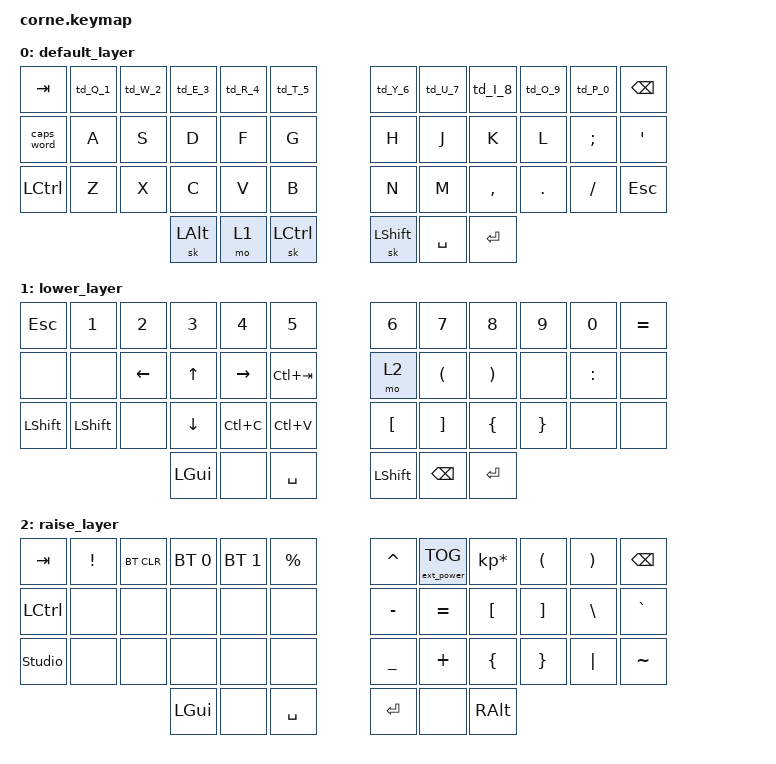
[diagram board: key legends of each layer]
#include <behaviors.dtsi>
#include <dt-bindings/zmk/keys.h>
#include <dt-bindings/zmk/bt.h>
#include <dt-bindings/zmk/ext_power.h>

/ {
            behaviors {
         td_Q_1: tap_dance_Q_1 {
            compatible = "zmk,behavior-tap-dance";
            #binding-cells = <0>;
            tapping-term-ms = <175>;
            bindings = <&kp Q>, <&kp N1>;
        };
        td_W_2: tap_dance_W_2 {
            compatible = "zmk,behavior-tap-dance";
            #binding-cells = <0>;
            tapping-term-ms = <175>;
            bindings = <&kp W>, <&kp N2>;
        };
        td_E_3: tap_dance_E_3 {
            compatible = "zmk,behavior-tap-dance";
            #binding-cells = <0>;
            tapping-term-ms = <175>;
            bindings = <&kp E>, <&kp N3>;
        };
        td_R_4: tap_dance_R_4 {
            compatible = "zmk,behavior-tap-dance";
            #binding-cells = <0>;
            tapping-term-ms = <175>;
            bindings = <&kp R>, <&kp N4>;
        };
        td_T_5: tap_dance_T_5 {
            compatible = "zmk,behavior-tap-dance";
            #binding-cells = <0>;
            tapping-term-ms = <175>;
            bindings = <&kp T>, <&kp N5>;
        };
        td_Y_6: tap_dance_Y_6 {
            compatible = "zmk,behavior-tap-dance";
            #binding-cells = <0>;
            tapping-term-ms = <175>;
            bindings = <&kp Y>, <&kp N6>;
        };
        td_U_7: tap_dance_U_7 {
            compatible = "zmk,behavior-tap-dance";
            #binding-cells = <0>;
            tapping-term-ms = <175>;
            bindings = <&kp U>, <&kp N7>;
        };
        td_I_8: tap_dance_I_8 {
            compatible = "zmk,behavior-tap-dance";
            #binding-cells = <0>;
            tapping-term-ms = <175>;
            bindings = <&kp I>, <&kp N8>;
        };
        td_O_9: tap_dance_O_9 {
            compatible = "zmk,behavior-tap-dance";
            #binding-cells = <0>;
            tapping-term-ms = <175>;
            bindings = <&kp O>, <&kp N9>;
        };
        td_P_0: tap_dance_P_0 {
            compatible = "zmk,behavior-tap-dance";
            #binding-cells = <0>;
            tapping-term-ms = <175>;
            bindings = <&kp P>, <&kp N0>;
        };
        td_V_CMD_C: tap_dance_V_CMD_C {
            compatible = "zmk,behavior-tap-dance";
            #binding-cells = <0>;
            tapping-term-ms = <175>;
            bindings = <&kp V>, <&kp LG(C)>;
        };
        td_B_CMD_V: tap_dance_B_CMD_V {
            compatible = "zmk,behavior-tap-dance";
            #binding-cells = <0>;
            tapping-term-ms = <175>;
            bindings = <&kp B>, <&kp LG(V)>;
        };
        td_G_CMD_S: tap_dance_G_CMD_S {
            compatible = "zmk,behavior-tap-dance";
            #binding-cells = <0>;
            tapping-term-ms = <175>;
            bindings = <&kp G>, <&kp LG(S)>;
        };
        td_S_LEFT: tap_dance_S_LEFT {
            compatible = "zmk,behavior-tap-dance";
            #binding-cells = <0>;
            tapping-term-ms = <175>;
            bindings = <&kp S>, <&kp LEFT>;
        };
        td_F_RIGHT: tap_dance_F_RIGHT {
            compatible = "zmk,behavior-tap-dance";
            #binding-cells = <0>;
            tapping-term-ms = <175>;
            bindings = <&kp F>, <&kp RIGHT>;
        };
        td_D_UP: tap_dance_D_UP {
            compatible = "zmk,behavior-tap-dance";
            #binding-cells = <0>;
            tapping-term-ms = <175>;
            bindings = <&kp D>, <&kp UP>;
        };
        td_C_DOWN: tap_dance_C_DOWN {
            compatible = "zmk,behavior-tap-dance";
            #binding-cells = <0>;
            tapping-term-ms = <175>;
            bindings = <&kp C>, <&kp DOWN>;
        };
        td_J_LPAR: tap_dance_J_LPAR {
            compatible = "zmk,behavior-tap-dance";
            #binding-cells = <0>;
            tapping-term-ms = <175>;
            bindings = <&kp J>, <&kp LPAR>;
        };
        td_K_RPAR: tap_dance_K_RPAR {
            compatible = "zmk,behavior-tap-dance";
            #binding-cells = <0>;
            tapping-term-ms = <175>;
            bindings = <&kp K>, <&kp RPAR>;
        };
        td_N_LBKT: tap_dance_N_LBKT {
            compatible = "zmk,behavior-tap-dance";
            #binding-cells = <0>;
            tapping-term-ms = <175>;
            bindings = <&kp N>, <&kp LBKT>;
        };
        td_M_RBKT: tap_dance_M_RBKT {
            compatible = "zmk,behavior-tap-dance";
            #binding-cells = <0>;
            tapping-term-ms = <175>;
            bindings = <&kp M>, <&kp RBKT>;
        };
        td_COMMA_LBRC: tap_dance_COMMA_LBRC {
            compatible = "zmk,behavior-tap-dance";
            #binding-cells = <0>;
            tapping-term-ms = <175>;
            bindings = <&kp COMMA>, <&kp LBRC>;
        };
        td_DOT_RBRC: tap_dance_DOT_RBRC {
            compatible = "zmk,behavior-tap-dance";
            #binding-cells = <0>;
            tapping-term-ms = <175>;
            bindings = <&kp DOT>, <&kp RBRC>;
        };
        td_H_MINUS: tap_dance_H_MINUS {
            compatible = "zmk,behavior-tap-dance";
            #binding-cells = <0>;
            tapping-term-ms = <175>;
            bindings = <&kp H>, <&kp MINUS>;
        };
        td_L_PLUS: tap_dance_L_PLUS {
            compatible = "zmk,behavior-tap-dance";
            #binding-cells = <0>;
            tapping-term-ms = <175>;
            bindings = <&kp L>, <&kp PLUS>;
        };
        td_V_CTRL_C: tap_dance_V_CTRL_C {
            compatible = "zmk,behavior-tap-dance";
            #binding-cells = <0>;
            tapping-term-ms = <175>;
            bindings = <&kp V>, <&kp LC(C)>;
        };
        td_B_CTRL_V: tap_dance_B_CTRL_V {
            compatible = "zmk,behavior-tap-dance";
            #binding-cells = <0>;
            tapping-term-ms = <175>;
            bindings = <&kp B>, <&kp LC(V)>;
        };
    };
        keymap {
                compatible = "zmk,keymap";

                default_layer {

                        bindings = <
   &kp TAB   &td_Q_1 &td_W_2 &td_E_3 &td_R_4 &td_T_5   &td_Y_6 &td_U_7  &td_I_8     &td_O_9   &td_P_0    &kp BSPC
   &caps_word &kp A &kp S &kp D &kp F &kp G   &kp H &kp J  &kp K     &kp L   &kp SEMI &kp SQT
   &kp LCTRL &kp Z &kp X &kp C &kp V &kp B   &kp N &kp M  &kp COMMA &kp DOT &kp FSLH &kp ESC
                  &sk LALT &mo 1 &sk LCTRL  &sk LSHFT &kp SPACE &kp RET
                        >;
                };
                lower_layer {
                        bindings = <
   &kp ESC  &kp N1  &kp N2  &kp N3  &kp N4  &kp N5         &kp N6   &kp N7   &kp N8 &kp N9    &kp N0 &kp EQUAL
   &none &none &kp LEFT &kp UP &kp RIGHT &kp LC(TAB)            &mo 2 &kp LPAR &kp RPAR &none &kp COLON &none
   &kp LSHFT  &kp LSHFT  &none  &kp DOWN  &kp LC(C)  &kp LC(V)   &kp LBKT  &kp RBKT  &kp LBRC  &kp RBRC  &none  &none
                           &kp LGUI  &none  &kp SPACE      &kp LSHFT  &kp BSPC   &kp RET
                        >;
                };

                raise_layer {
                        bindings = <
   &kp  TAB  &kp EXCL &bt BT_CLR &bt BT_SEL 0 &bt BT_SEL 1 &kp PRCNT   &kp CARET &ext_power EP_TOG &kp KP_MULTIPLY &kp LPAR &kp RPAR &kp BSPC
   &kp LCTRL &none   &none &none   &none   &none      &kp MINUS &kp EQUAL &kp LBKT        &kp RBKT &kp BSLH &kp GRAVE
   &studio_unlock &none   &none &none   &none   &none      &kp UNDER &kp PLUS  &kp LBRC        &kp RBRC &kp PIPE &kp TILDE
                             &kp LGUI &none   &kp SPACE   &kp RET   &none    &kp RALT
                        >;
                };
        };
};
